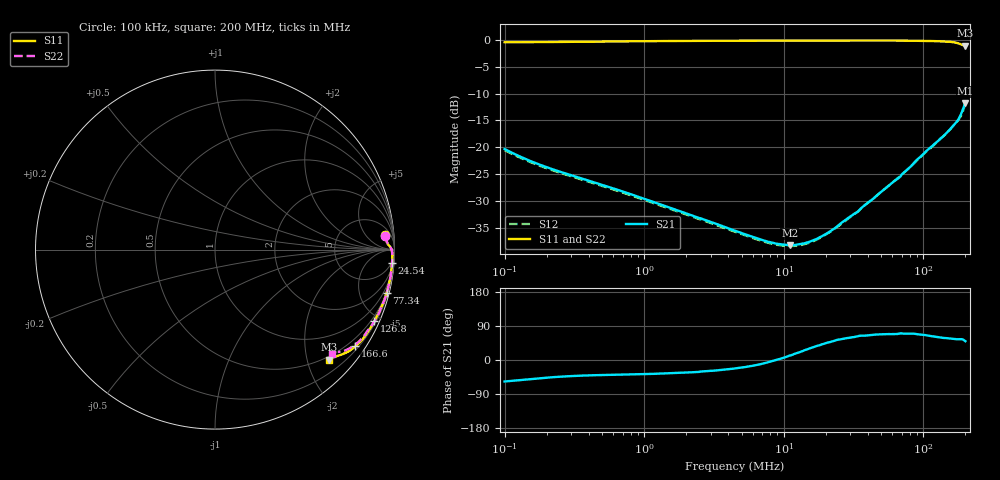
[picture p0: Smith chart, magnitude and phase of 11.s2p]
#  HZ  S  RI  R  50.00
! Rohde & Schwarz Vector Network Analyzer
! Rohde-Schwarz,ZNLE6-2Port,1323001256200024,1.71.1.10-23.02.1.238
! Created: UTC 4/8/2025, 5:10:16 AM
! freq[Hz]  re:S11  im:S11  re:S21  im:S21  re:S12  im:S12  re:S22  im:S22
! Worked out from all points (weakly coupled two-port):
!   1001 points, 100 kHz to 200 MHz, reference 50 ohm
!   highest |S21| = -11.77 dB at 200 MHz (marker M1); lowest = -38.2 dB at 11.05 MHz (marker M2)
!   lowest |S11| = -1.1 dB at 200 MHz (marker M3), VSWR 16.18, Z = 21.5 - j120 ohm
!   |S11| at or under -10 dB: nowhere
!   |S22| runs from -1.2 to -0.1 dB; largest |S21 - S12| = 0.01
!   S11 on the Smith chart (normalised r, x): 100 kHz: 10, +18; 24.54 MHz: 4, -27; 77.34 MHz: 0.48, -8.05; 126.8 MHz: 0.30, -4.65; 166.6 MHz: 0.29, -3.19; 200 MHz: 0.43, -2.41
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100000  0.9477 0.08  0.0529 -0.0806  0.0515 -0.0787  0.9492 0.0781
175499.6  0.9542 0.0512  0.0462 -0.0519  0.0451 -0.0507  0.9554 0.05
355854.1  0.9617 0.0328  0.0386 -0.0338  0.0376 -0.0331  0.9627 0.0321
1266322  0.976 0.0144  0.0241 -0.0176  0.0235 -0.0172  0.9766 0.0143
4472136  0.9845 -0.00452  0.0155 -0.00635  0.015 -0.00639  0.9853 -0.00269
7848582  0.9867 -0.0175  0.0131 -0.00121  0.0127 -0.00144  0.9872 -0.0154
1.104937e7  0.9879 -0.0287  0.012 0.00251  0.0119 0.00208  0.988 -0.0258
1.336175e7  0.9877 -0.036  0.0117 0.0048  0.0114 0.00465  0.9883 -0.0333
1.591428e7  0.9878 -0.0446  0.0114 0.00724  0.0112 0.00703  0.9884 -0.041
2.029644e7  0.9876 -0.0591  0.0111 0.0112  0.0112 0.0108  0.9881 -0.0541
2.454402e7  0.9866 -0.0724  0.011 0.0151  0.0112 0.0146  0.9874 -0.0667
3.351876e7  0.9838 -0.1015  0.0117 0.022  0.0118 0.022  0.9853 -0.0937
5.663162e7  0.973 -0.1751  0.0162 0.0409  0.0171 0.0407  0.9761 -0.1612
6.643251e7  0.9657 -0.2071  0.0183 0.0484  0.0206 0.0483  0.97 -0.1902
7.733948e7  0.956 -0.2404  0.0219 0.0585  0.024 0.0577  0.9618 -0.2226
1.080554e8  0.9176 -0.3372  0.0413 0.0858  0.0433 0.0834  0.9299 -0.3148
1.267559e8  0.8884 -0.3988  0.0561 0.0992  0.0573 0.0975  0.9026 -0.3739
1.486928e8  0.8401 -0.476  0.0746 0.1167  0.077 0.1145  0.8562 -0.4442
1.6665e8  0.7818 -0.5392  0.0932 0.1344  0.0966 0.1311  0.8084 -0.5059
1.82565e8  0.7096 -0.5832  0.1103 0.1588  0.1131 0.1513  0.7377 -0.5565
1.940108e8  0.6588 -0.6003  0.1407 0.1887  0.1324 0.1835  0.6749 -0.5705
2e8  0.6355 -0.6139  0.1672 0.1965  0.1636 0.1979  0.651 -0.5824
